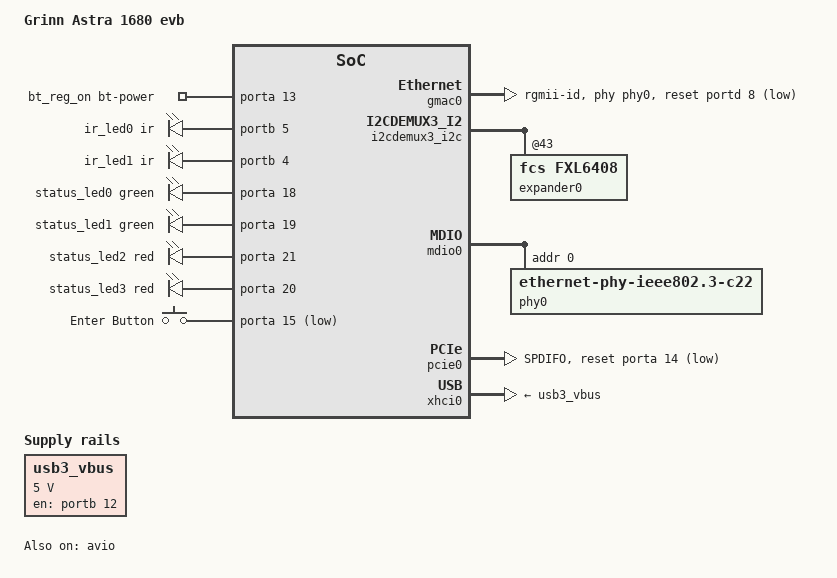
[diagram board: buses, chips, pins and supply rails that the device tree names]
/* SPDX-License-Identifier: GPL-2.0+ */
/*
* Copyright (C) 2016~2023 Synaptics Incorporated. All rights reserved.
*
* This program is free software; you can redistribute it and/or modify
* it under the terms of the GNU General Public License version 2 or
* later as published by the Free Software Foundation.
*
* INFORMATION CONTAINED IN THIS DOCUMENT IS PROVIDED "AS-IS," AND
* SYNAPTICS EXPRESSLY DISCLAIMS ALL EXPRESS AND IMPLIED WARRANTIES,
* INCLUDING ANY IMPLIED WARRANTIES OF MERCHANTABILITY AND FITNESS FOR
* A PARTICULAR PURPOSE, AND ANY WARRANTIES OF NON-INFRINGEMENT OF ANY
* INTELLECTUAL PROPERTY RIGHTS. IN NO EVENT SHALL SYNAPTICS BE LIABLE
* FOR ANY DIRECT, INDIRECT, INCIDENTAL, SPECIAL, PUNITIVE, OR
* CONSEQUENTIAL DAMAGES ARISING OUT OF OR IN CONNECTION WITH THE USE
* OF THE INFORMATION CONTAINED IN THIS DOCUMENT, HOWEVER CAUSED AND
* BASED ON ANY THEORY OF LIABILITY, WHETHER IN AN ACTION OF CONTRACT,
* NEGLIGENCE OR OTHER TORTIOUS ACTION, AND EVEN IF SYNAPTICS WAS
* ADVISED OF THE POSSIBILITY OF SUCH DAMAGE. IF A TRIBUNAL OF
* COMPETENT JURISDICTION DOES NOT PERMIT THE DISCLAIMER OF DIRECT
* DAMAGES OR ANY OTHER DAMAGES, SYNAPTICS' TOTAL CUMULATIVE LIABILITY
* TO ANY PARTY SHALL NOT EXCEED ONE HUNDRED U.S. DOLLARS.
*/

/dts-v1/;

#include <dt-bindings/input/input.h>
#include <dt-bindings/leds/common.h>

#include "grinn-astra-1680.dtsi"

/ {
	model = "Grinn Astra 1680 evb";
	compatible = "syna,dolphin-evk", "syna,dolphin";

	bt_reg_on: bt_reg_on {
		compatible = "syna,rfkill";
		status = "okay";
		bt-power-gpio = <&porta 13 GPIO_ACTIVE_HIGH>;
		pinctrl-0 = <&bt_reg_on_pmux>;
		pinctrl-names = "default";
	};

	leds {
		compatible = "gpio-leds";
		status = "okay";
		pinctrl-0 = <&ir_led_en1_pmux>, <&ir_led_en2_pmux>,
			    <&led0_pmux>, <&led1_pmux>, <&led2_pmux>, <&led3_pmux>;
		pinctrl-names = "default";

		ir_led0: led-ir-0 {
			gpios = <&portb 5 GPIO_ACTIVE_HIGH>;
			color = <LED_COLOR_ID_IR>;
			function = LED_FUNCTION_TORCH;
			function-enumerator = <0>;
			default-state = "off";
		};

		ir_led1: led-ir-1 {
			gpios = <&portb 4 GPIO_ACTIVE_HIGH>;
			color = <LED_COLOR_ID_IR>;
			function = LED_FUNCTION_TORCH;
			function-enumerator = <1>;
			default-state = "off";
		};

		status_led0: status-led-0 {
			gpios = <&porta 18 GPIO_ACTIVE_HIGH>;
			color = <LED_COLOR_ID_GREEN>;
			function = LED_FUNCTION_POWER;
			linux,default-trigger = "default-on";
			default-state = "off";
		};

		status_led1: status-led-1 {
			gpios = <&porta 19 GPIO_ACTIVE_HIGH>;
			color = <LED_COLOR_ID_GREEN>;
			function = LED_FUNCTION_HEARTBEAT;
			linux,default-trigger = "heartbeat";
			default-state = "off";
		};

		status_led2: status-led-2 {
			gpios = <&porta 21 GPIO_ACTIVE_HIGH>;
			color = <LED_COLOR_ID_RED>;
			function = LED_FUNCTION_DISK_ACTIVITY;
			linux,default-trigger = "mmc0";
			default-state = "off";
		};

		status_led3: status-led-3 {
			gpios = <&porta 20 GPIO_ACTIVE_HIGH>;
			color = <LED_COLOR_ID_RED>;
			function = LED_FUNCTION_FAULT;
			linux,default-trigger = "panic";
			default-state = "off";
		};
	};

	keys {
		compatible = "gpio-keys";
		status = "okay";
		pinctrl-0 = <&button_pmux>;
		pinctrl-names = "default";

		user-button {
			label = "Enter Button";
			linux,code = <KEY_ENTER>;
			gpios = <&porta 15 GPIO_ACTIVE_LOW>;
			debounce-interval = <50>;
		};
	};

	regulators {
		compatible = "simple-bus";
		#address-cells = <1>;
		#size-cells = <0>;

		usb3_vbus: usb3_vbus {
			compatible = "regulator-fixed";
			regulator-min-microvolt = <5000000>;
			regulator-max-microvolt = <5000000>;
			regulator-name = "usb3-vbus";
			enable-active-high;
			gpio = <&portb 12 GPIO_ACTIVE_HIGH>;
			pinctrl-0 = <&usb3_vbus_pmux>;
			pinctrl-names = "default";
		};
	};
};

&avio {
	status = "okay";
	pinctrl-0 = <&hdmitx5v_pmux>;
	pinctrl-names = "default";

	vpp {
		hdtx5v-gpio = <&portb 6 GPIO_ACTIVE_HIGH>;
	};
};

&avio_pinctrl {
	bt_reg_on_pmux: bt-reg-on-pmux {
		groups = "I2S2_LRCKIO";
		function = "gpio";
	};

	button_pmux: button-pmux {
		groups = "I2S1_DO3";
		function = "gpio";
	};

	led0_pmux: led0-pmux {
		groups = "I2S1_MCLK";
		function = "gpio";
	};

	led1_pmux: led1-pmux {
		groups = "I2S1_DO0";
		function = "gpio";
	};

	led2_pmux: led2-pmux {
		groups = "I2S1_LRCKIO";
		function = "gpio";
	};

	led3_pmux: led3-pmux {
		groups = "I2S1_BCLKIO";
		function = "gpio";
	};

	pcie_rst_pmux: pcie-rst-pmux {
		groups = "SPDIFO";
		function = "gpio";
	};
};

&gmac0 {
	status = "okay";
	pinctrl-0 = <&gmac0_pmux>, <&gmac_gpio_pmux>;
	pinctrl-names = "default";
	phy-handle = <&phy0>;
	phy-mode = "rgmii-id";
	snps,reset-gpio = <&portd 8 GPIO_ACTIVE_HIGH>;
	snps,reset-delays-us = <0 10000 50000>;
	snps,reset-active-low;
};

&i2cdemux3_i2c {
	expander0: gpio@43 {
		compatible = "fcs,fxl6408";
		reg = <0x43>;
		gpio-controller;
		#gpio-cells = <2>;
		gpio-line-names = "PWR_SOC_VCORE_EN", "", "VDDM_ON", "VDDM_LPQ_OFF",
				  "STAND_BY_EN", "", "", "";
	};
};

&mdio0 {
	phy0: ethernet-phy@0 {
		reg = <0>;
		compatible = "ethernet-phy-ieee802.3-c22";
		device_type = "ethernet-phy";
	};
};

&pcie0 {
	reset-gpios = <&porta 14 GPIO_ACTIVE_LOW>;
	pinctrl-0 = <&pcie_rst_pmux>;
	pinctrl-names = "default";
};

&pinctrl {
	hdmitx5v_pmux: hdmitx5v-pmux {
		groups = "STS1_SOP";
		function = "gpio";
	};

	ir_led_en1_pmux: ir-led-en1-pmux {
		groups = "STS1_SD";
		function = "gpio";
	};

	ir_led_en2_pmux: ir-led-en2-pmux {
		groups = "STS1_VALD";
		function = "gpio";
	};

	usb3_vbus_pmux: usb3_vbus_pmux {
		groups = "SDIO_WP";
		function = "gpio";
	};
};

&porta {
	gpio-line-names =
		"", "", "", "", "", "", "", "",
		"", "", "", "", "", "BT_REG_ON", "PCIE_RSTn", "BUTTONn",
		"", "", "LED0", "LED1", "LED3", "LED2", "", "",
		"", "", "", "", "", "", "", "";
};

&portb {
	gpio-line-names =
		"", "", "", "", "IR_LED_EN2", "IR_LED_EN1", "HDMI_TX_5V_EN", "",
		"", "", "", "", "USB3_EN", "", "", "",
		"", "", "", "", "", "", "", "",
		"", "", "", "", "", "", "", "";
};

&portd {
	pinctrl-0 = <&led_en_pmux>, <&pwr_en_pmux>;
	pinctrl-names = "default";

	gpio-line-names =
		"", "", "", "", "", "", "", "",
		"", "", "", "", "", "", "", "",
		"LED_ENn", "PWR_ENn", "", "", "", "", "", "",
		"", "", "", "", "", "", "", "";
};

&sm_pinctrl {
	led_en_pmux: led-en-pmux {
		groups = "SM_SPI2_SS1n";
		function = "gpio";
	};

	pwr_en_pmux: pwr-en-pmux {
		groups = "SM_SPI2_SS0n";
		function = "gpio";
	};
};

&xhci0 {
	status = "okay";
	vbus-supply = <&usb3_vbus>;
};
